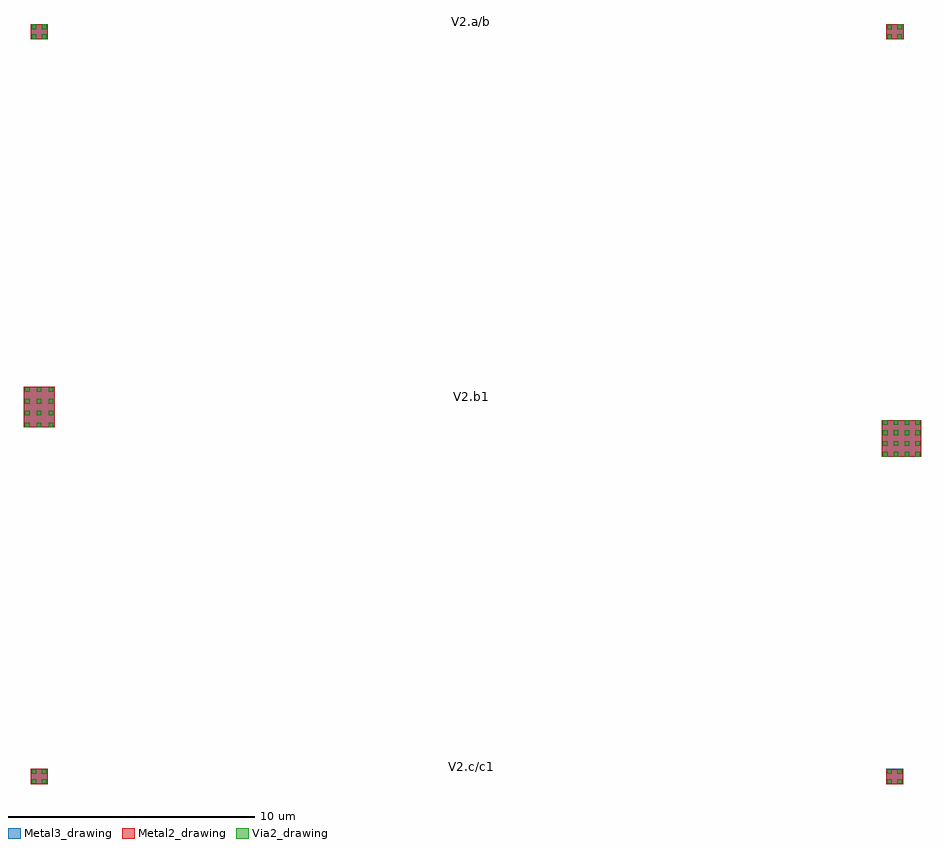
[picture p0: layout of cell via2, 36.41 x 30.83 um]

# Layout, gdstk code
import gdstk
lib = gdstk.Library(unit=1e-6, precision=1e-09)
def R(c, l, rs):  # rectangles x0, y0, x1, y1
    for r in rs: c.add(gdstk.rectangle(r[:2], r[2:], *l))
def A(c, l, x, y, w, h, nx, ny, dx, dy):  # array of equal rectangles
    R(c, l, [(x+i*dx, y+j*dy, x+i*dx+w, y+j*dy+h) for i in range(nx) for j in range(ny)])
Metal2_drawing = (10, 0)
Via2_drawing = (29, 0)
Metal3_drawing = (30, 0)

via2 = lib.new_cell('via2')
R(via2, Metal2_drawing, [(-17.885,-38.175,-17.185,-37.565), (16.825,-38.175,17.52,-37.57), (16.64,-24.895,18.25,-23.41), (-18.16,-23.71,-16.91,-22.07), (-17.885,-7.965,-17.185,-7.355), (16.82,-7.965,17.53,-7.345)])
A(via2, Via2_drawing, 16.69, -24.89, 0.19, 0.19, 4, 3, 0.44, 0.435)
A(via2, Via2_drawing, -18.11, -23.705, 0.19, 0.19, 3, 4, 0.48, 0.48)
A(via2, Via2_drawing, 16.69, -23.605, 0.19, 0.19, 4, 1, 0.44, 0)
R(via2, Via2_drawing, [(-17.835,-38.17,-17.645,-37.98), (-17.425,-38.17,-17.235,-37.98), (16.87,-38.17,17.06,-37.98), (17.28,-38.17,17.47,-37.98), (-17.835,-37.76,-17.645,-37.57), (-17.425,-37.76,-17.235,-37.57), (16.87,-37.76,17.06,-37.57), (17.28,-37.76,17.47,-37.57), (-17.835,-7.96,-17.645,-7.77), (-17.425,-7.96,-17.235,-7.77), (17.27,-7.96,17.46,-7.77), (16.875,-7.955,17.06,-7.77), (16.87,-7.56,17.06,-7.37), (-17.835,-7.55,-17.645,-7.36), (-17.425,-7.55,-17.235,-7.36), (17.28,-7.55,17.48,-7.35)])
R(via2, Metal3_drawing, [(-17.885,-38.175,-17.185,-37.565), (16.825,-38.175,17.52,-37.565), (16.64,-24.895,18.25,-23.41), (-18.16,-23.71,-16.91,-22.07), (-17.885,-7.965,-17.185,-7.355), (16.82,-7.965,17.53,-7.345)])
via2.add(gdstk.Label('V2.a/b', (0,-7.245), layer=63, texttype=0))
via2.add(gdstk.Label('V2.b1', (0,-22.475), layer=63, texttype=0))
via2.add(gdstk.Label('V2.c/c1', (0,-37.455), layer=63, texttype=0))
via2.add(gdstk.Label('PASS', (-12,5), layer=63, texttype=0))
via2.add(gdstk.Label('FAIL', (12,5), layer=63, texttype=0))
via2.add(gdstk.Label('5.20 Vian', (0,21), layer=63, texttype=0))

lib.write_gds('via2.gds')
